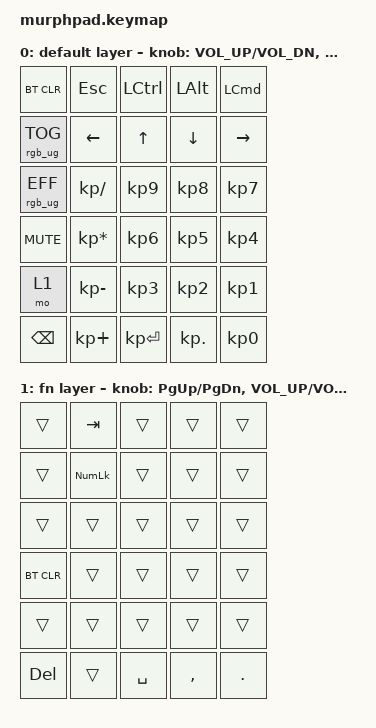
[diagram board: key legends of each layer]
/*
 * Copyright (c) 2021 The ZMK Contributors
 *
 * SPDX-License-Identifier: MIT
 */

#include <behaviors.dtsi>
#include <dt-bindings/zmk/keys.h>
#include <dt-bindings/zmk/bt.h>
#include <dt-bindings/zmk/rgb.h>


#define TIMEOUT 300

&encoder_1 {
	status = "okay";
};

&encoder_2 {
	status = "okay";
};

/ {
    combos {
        compatible = "zmk,combos";
        combo_btclr {
            timeout-ms = <TIMEOUT>;
            key-positions = <1 6>;
            bindings = <&bt BT_CLR>;
        };
        combo_reset {
            timeout-ms = <TIMEOUT>;
            key-positions = <1 3>;
            bindings = <&reset>;
        };
        combo_bootloader {
            timeout-ms = <TIMEOUT>;
            key-positions = <1 2>;
            bindings = <&bootloader>;
        };
        combo_bt_nxt {
            timeout-ms = <TIMEOUT>;
            key-positions = <1 4>;
            bindings = <&bt BT_NXT>;
        };
    };
	
	sensors {
		compatible = "zmk,keymap-sensors";
		sensors = <&encoder_1 &encoder_2>;
	};


	keymap0: keymap {
		compatible = "zmk,keymap";

		default_layer {
		label = "default layer";
            bindings = <
                &bt BT_CLR       &kp ESC      &kp LCTRL          &kp LALT     &kp LCMD   
                &rgb_ug RGB_TOG  &kp LEFT      &kp UP   &kp DOWN   &kp RIGHT    
                &rgb_ug RGB_EFF  &kp KP_DIVIDE    &kp KP_N9       &kp KP_N8         &kp KP_N7   
                &kp C_MUTE       &kp KP_MULTIPLY    &kp KP_N6       &kp KP_N5         &kp KP_N4 
                &mo 1            &kp KP_MINUS    &kp KP_N3       &kp KP_N2         &kp KP_N1
                &kp BSPC         &kp KP_PLUS    &kp KP_ENTER          &kp KP_DOT        &kp KP_N0
            >;
			sensor-bindings = <&inc_dec_kp C_VOL_UP C_VOL_DN &inc_dec_kp PG_UP PG_DN>;

        }; 
		
        fn_layer {
		label = "fn layer";
            bindings = <
                &trans      &kp TAB     &trans        &trans          &trans  
                &trans      &kp KP_NUM &trans        &trans          &trans     
                &trans      &trans     &trans        &trans	         &trans
                &bt BT_CLR  &trans     &trans        &trans          &trans    
                &trans      &trans     &trans        &trans          &trans
                &kp DEL    	&trans     &kp SPACE        &kp COMMA          &kp DOT           
            >;  
			sensor-bindings = <&inc_dec_kp PG_UP PG_DN &inc_dec_kp C_VOL_UP C_VOL_DN>;
                
        };
    };
};
